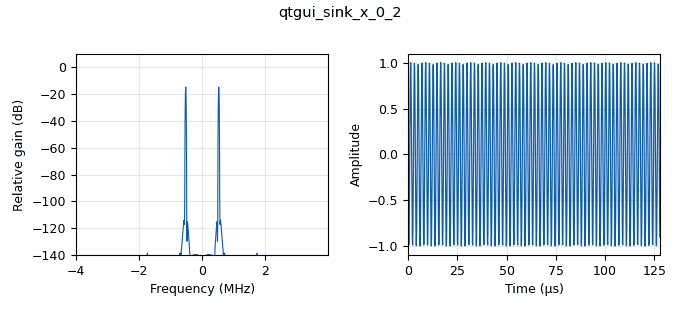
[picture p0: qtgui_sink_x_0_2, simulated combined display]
options:
  parameters:
    generate_options: qt_gui
    id: fmcw_sim
    output_language: python
    title: Not titled yet
  states: {}

blocks:
- name: center_freq
  id: variable
  parameters:
    value: '100000000'
  states: {}
- name: samp_rate
  id: variable
  parameters:
    value: '8000000'
  states: {}
- name: analog_sig_source_x_0_0
  id: analog_sig_source_x
  parameters:
    amp: '1'
    freq: '1'
    offset: '0'
    phase: '0'
    samp_rate: samp_rate
    type: float
    waveform: analog.GR_SAW_WAVE
  states: {}
- name: blocks_file_sink_0_0_0
  id: blocks_file_sink
  parameters:
    file: /home/gprlab/Desktop/gpr/gnu_log/out0dump_log
    type: complex
  states: {}
- name: blocks_file_sink_0_0_1
  id: blocks_file_sink
  parameters:
    file: /home/gprlab/Desktop/gpr/gnu_log/out1dump_log
    type: complex
  states: {}
- name: blocks_file_sink_0_0_2
  id: blocks_file_sink
  parameters:
    file: /home/gprlab/Desktop/gpr/gnu_log/chirp_log
    type: complex
  states: {}
- name: blocks_float_to_complex_0
  id: blocks_float_to_complex
  parameters: {}
  states: {}
- name: blocks_vco_f_0_0
  id: blocks_vco_f
  parameters:
    amplitude: '1'
    samp_rate: samp_rate
    sensitivity: 3140000*2
  states: {}
- name: note_0
  id: note
  parameters: {}
  states: {}
- name: qtgui_sink_x_0_2
  id: qtgui_sink_x
  parameters:
    bw: samp_rate
    fc: '0'
    fftsize: '1024'
    rate: '10000'
    type: float
  states: {}
- name: uhd_usrp_sink_0_0
  id: uhd_usrp_sink
  parameters:
    ant0: '"TX/RX"'
    ant1: '"TX/RX"'
    bw0: samp_rate/2
    bw1: samp_rate/2
    center_freq0: center_freq
    center_freq1: center_freq
    dev_addr: '"serial=326F639"'
    gain0: '0.5'
    gain1: '0'
    gain_type0: normalized
    gain_type1: normalized
    lo_export1: 'False'
    lo_source1: internal
    nchan: '2'
    samp_rate: samp_rate
    show_lo_controls: 'True'
    stream_args: num send f rames = 1024
    stream_chans: '[0,1]'
    sync: sync
    type: fc32
  states: {}
- name: uhd_usrp_source_0_0_0
  id: uhd_usrp_source
  parameters:
    ant0: '"RX2"'
    ant1: '"RX2"'
    bw0: samp_rate/2
    bw1: samp_rate/2
    center_freq0: center_freq
    center_freq1: center_freq
    dev_addr: '"serial=326F639"'
    gain0: '0.5'
    gain1: '0.5'
    gain_type0: normalized
    gain_type1: normalized
    lo_export1: 'False'
    lo_source1: internal
    nchan: '2'
    rx_agc0: Disabled
    rx_agc1: Disabled
    samp_rate: samp_rate
    show_lo_controls: 'True'
    stream_args: num send f rames = 1024
    stream_chans: '[0,1]'
    sync: none
    type: fc32
  states: {}

connections:
- [analog_sig_source_x_0_0, '0', blocks_vco_f_0_0, '0']
- [blocks_float_to_complex_0, '0', blocks_file_sink_0_0_2, '0']
- [blocks_float_to_complex_0, '0', uhd_usrp_sink_0_0, '0']
- [blocks_float_to_complex_0, '0', uhd_usrp_sink_0_0, '1']
- [blocks_vco_f_0_0, '0', blocks_float_to_complex_0, '0']
- [blocks_vco_f_0_0, '0', blocks_float_to_complex_0, '1']
- [blocks_vco_f_0_0, '0', qtgui_sink_x_0_2, '0']
- [uhd_usrp_source_0_0_0, '0', blocks_file_sink_0_0_0, '0']
- [uhd_usrp_source_0_0_0, '1', blocks_file_sink_0_0_1, '0']

metadata:
  file_format: 1
  grc_version: 3.9.8.0-rc1
